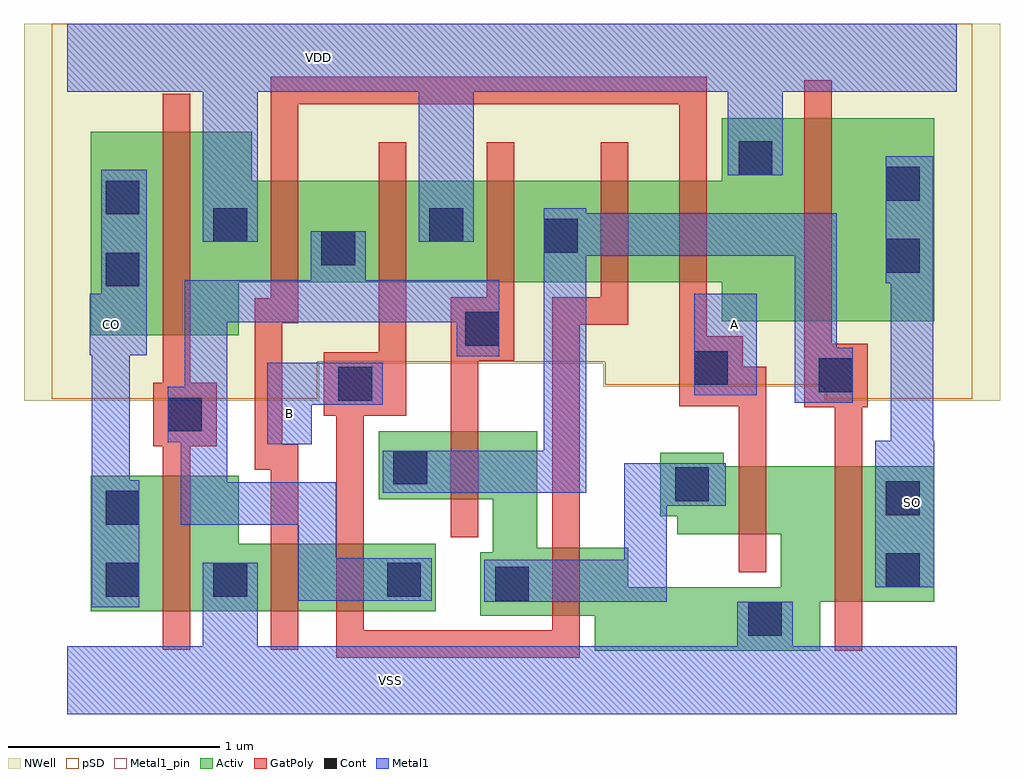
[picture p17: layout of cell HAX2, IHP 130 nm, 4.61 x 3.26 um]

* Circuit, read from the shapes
.subckt HAX2 A B CO SO VDD VSS
XM1 VSS n1 CO VSUBS sg13_lv_nmos w=0.64u l=0.13u
XM2 n2 A VSS VSUBS sg13_lv_nmos w=0.32u l=0.13u
XM3 n1 B n2 VSUBS sg13_lv_nmos w=0.32u l=0.13u
XM4 n3 n1 n4 VSUBS sg13_lv_nmos w=0.32u l=0.13u
XM5 VSS B n3 VSUBS sg13_lv_nmos w=0.32u l=0.13u
XM6 VSS A n3 VSUBS sg13_lv_nmos w=0.32u l=0.13u
XM7 SO n4 VSS VSUBS sg13_lv_nmos w=0.64u l=0.13u
XM8 VDD n1 CO n5 sg13_lv_pmos w=0.96u l=0.13u
XM9 n1 A VDD n5 sg13_lv_pmos w=0.48u l=0.13u
XM10 VDD B n1 n5 sg13_lv_pmos w=0.48u l=0.13u
XM11 n4 n1 VDD n5 sg13_lv_pmos w=0.48u l=0.13u
XM12 n6 B n4 n5 sg13_lv_pmos w=0.48u l=0.13u
XM13 VDD A n6 n5 sg13_lv_pmos w=0.48u l=0.13u
XM14 SO n4 VDD n5 sg13_lv_pmos w=0.96u l=0.13u
.ends

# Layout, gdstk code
import gdstk
lib = gdstk.Library(unit=1e-6, precision=1e-09)
def R(c, l, rs):  # rectangles x0, y0, x1, y1
    for r in rs: c.add(gdstk.rectangle(r[:2], r[2:], *l))
def P(c, l, *ps):  # polygons
    for p in ps: c.add(gdstk.Polygon(p, *l))
Activ = (1, 0)
GatPoly = (5, 0)
Cont = (6, 0)
Metal1 = (8, 0)
Metal1_pin = (8, 2)
pSD = (14, 0)
NWell = (31, 0)

hax2 = lib.new_cell('HAX2')
P(hax2, Activ, [(2.49,0.14),(2.49,0.305),(1.95,0.305),(1.95,0.605),(2.01,0.605),(2.01,0.855),(1.47,0.855),(1.47,1.175),(2.22,1.175),(2.22,0.625),(2.65,0.625),(2.65,0.44),(3.37,0.44),(3.37,0.69),(2.88,0.69),(2.88,0.775),(2.8,0.775),(2.8,1.075),(3.1,1.075),(3.1,1.01),(4.095,1.01),(4.095,0.37),(3.555,0.37),(3.555,0.14)],
  [(0.11,1.63),(0.11,2.59),(0.87,2.59),(0.87,2.36),(3.09,2.36),(3.09,2.655),(4.095,2.655),(4.095,1.695),(3.09,1.695),(3.09,1.88),(0.81,1.88),(0.81,1.63)],
  [(0.11,0.325),(0.11,0.965),(0.81,0.965),(0.81,0.645),(1.74,0.645),(1.74,0.325)])
P(hax2, GatPoly, [(1.27,0.105),(1.27,1.25),(1.21,1.25),(1.21,1.55),(1.47,1.55),(1.47,2.54),(1.6,2.54),(1.6,1.25),(1.4,1.25),(1.4,0.235),(2.29,0.235),(2.29,1.81),(2.52,1.81),(2.52,2.54),(2.65,2.54),(2.65,1.68),(2.42,1.68),(2.42,0.105)],
  [(0.96,0.145),(0.96,0.995),(0.885,0.995),(0.885,1.805),(0.96,1.805),(0.96,2.85),(3.02,2.85),(3.02,1.625),(3.19,1.625),(3.19,1.48),(3.3,1.48),(3.3,0.51),(3.17,0.51),(3.17,1.295),(2.89,1.295),(2.89,2.72),(1.09,2.72),(1.09,1.685),(1.015,1.685),(1.015,1.115),(1.09,1.115),(1.09,0.145)],
  [(3.625,0.14),(3.625,1.29),(3.48,1.29),(3.48,2.835),(3.61,2.835),(3.61,1.59),(3.78,1.59),(3.78,1.29),(3.755,1.29),(3.755,0.14)],
  [(1.81,0.675),(1.81,1.81),(1.98,1.81),(1.98,2.54),(2.11,2.54),(2.11,1.51),(1.94,1.51),(1.94,0.675)],
  [(0.45,0.145),(0.45,1.105),(0.405,1.105),(0.405,1.405),(0.45,1.405),(0.45,2.77),(0.58,2.77),(0.58,1.405),(0.705,1.405),(0.705,1.105),(0.58,1.105),(0.58,0.145)])
R(hax2, Cont, [(3.215,0.21,3.375,0.37), (2.02,0.375,2.18,0.535), (0.18,0.395,0.34,0.555), (0.69,0.395,0.85,0.555), (1.51,0.395,1.67,0.555), (3.865,0.44,4.025,0.6), (0.18,0.735,0.34,0.895), (3.865,0.78,4.025,0.94), (2.87,0.845,3.03,1.005), (1.54,0.925,1.7,1.085), (0.475,1.175,0.635,1.335), (1.28,1.32,1.44,1.48), (3.55,1.36,3.71,1.52), (2.96,1.395,3.12,1.555), (1.88,1.58,2.04,1.74), (0.18,1.86,0.34,2.02), (3.865,1.925,4.025,2.085), (1.2,1.96,1.36,2.12), (2.25,2.02,2.41,2.18), (0.69,2.07,0.85,2.23), (1.71,2.07,1.87,2.23), (0.18,2.2,0.34,2.36), (3.865,2.265,4.025,2.425), (3.17,2.385,3.33,2.545)])
R(hax2, Metal1, [(2.96,1.345,3.255,1.825)])
P(hax2, Metal1, [(0,-0.16),(0,0.16),(0.64,0.16),(0.64,0.555),(0.9,0.555),(0.9,0.16),(3.165,0.16),(3.165,0.37),(3.425,0.37),(3.425,0.16),(4.2,0.16),(4.2,-0.16)],
  [(0.64,2.07),(0.64,2.78),(0,2.78),(0,3.1),(4.2,3.1),(4.2,2.78),(3.38,2.78),(3.38,2.385),(3.12,2.385),(3.12,2.78),(1.92,2.78),(1.92,2.07),(1.66,2.07),(1.66,2.78),(0.9,2.78),(0.9,2.07)],
  [(0.115,0.345),(0.115,1.535),(0.105,1.535),(0.105,1.825),(0.16,1.825),(0.16,2.41),(0.375,2.41),(0.375,1.535),(0.295,1.535),(0.295,0.945),(0.34,0.945),(0.34,0.345)],
  [(3.815,0.44),(3.815,1.13),(3.89,1.13),(3.89,1.875),(3.865,1.875),(3.865,2.475),(4.09,2.475),(4.09,1.13),(4.095,1.13),(4.095,0.44)],
  [(1.49,0.885),(1.49,1.085),(2.25,1.085),(2.25,2.23),(2.45,2.23),(2.45,2.205),(3.635,2.205),(3.635,1.57),(3.71,1.57),(3.71,1.31),(3.435,1.31),(3.435,2.005),(2.45,2.005),(2.45,0.885)],
  [(0.945,1.115),(0.945,1.5),(1.49,1.5),(1.49,1.3),(1.155,1.3),(1.155,1.115)],
  [(1.97,0.37),(1.97,0.57),(2.63,0.57),(2.63,1.025),(3.11,1.025),(3.11,0.825),(2.83,0.825),(2.83,0.37)],
  [(1.09,0.375),(1.09,0.735),(0.535,0.735),(0.535,1.125),(0.475,1.125),(0.475,1.385),(0.555,1.385),(0.555,1.89),(1.15,1.89),(1.15,2.12),(1.41,2.12),(1.41,1.89),(2.04,1.89),(2.04,1.53),(1.84,1.53),(1.84,1.69),(0.755,1.69),(0.755,0.935),(1.27,0.935),(1.27,0.575),(1.72,0.575),(1.72,0.375)])
R(hax2, Metal1_pin, [(2.96,1.345,3.255,1.825)])
P(hax2, Metal1_pin, [(0,-0.16),(0,0.16),(0.64,0.16),(0.64,0.555),(0.9,0.555),(0.9,0.16),(3.165,0.16),(3.165,0.37),(3.425,0.37),(3.425,0.16),(4.2,0.16),(4.2,-0.16)],
  [(0.945,1.115),(0.945,1.5),(1.49,1.5),(1.49,1.3),(1.155,1.3),(1.155,1.115)],
  [(3.815,0.44),(3.815,1.13),(3.89,1.13),(3.89,1.875),(3.865,1.875),(3.865,2.475),(4.09,2.475),(4.09,1.13),(4.095,1.13),(4.095,0.44)],
  [(0.64,2.07),(0.64,2.78),(0,2.78),(0,3.1),(4.2,3.1),(4.2,2.78),(3.38,2.78),(3.38,2.385),(3.12,2.385),(3.12,2.78),(1.92,2.78),(1.92,2.07),(1.66,2.07),(1.66,2.78),(0.9,2.78),(0.9,2.07)],
  [(0.115,0.345),(0.115,1.535),(0.105,1.535),(0.105,1.825),(0.16,1.825),(0.16,2.41),(0.375,2.41),(0.375,1.535),(0.295,1.535),(0.295,0.945),(0.34,0.945),(0.34,0.345)])
P(hax2, pSD, [(-0.075,1.33),(-0.075,3.1),(4.275,3.1),(4.275,1.33),(3.585,1.33),(3.585,1.395),(2.54,1.395),(2.54,1.505),(1.18,1.505),(1.18,1.33)])
P(hax2, NWell, [(-0.205,1.32),(-0.205,3.1),(4.405,3.1),(4.405,1.32),(3.575,1.32),(3.575,1.385),(2.53,1.385),(2.53,1.495),(1.19,1.495),(1.19,1.32)])
hax2.add(gdstk.Label('B', (1.05,1.26), layer=8, texttype=25))
hax2.add(gdstk.Label('A', (3.15,1.68), layer=8, texttype=25))
hax2.add(gdstk.Label('SO', (3.99,0.84), layer=8, texttype=25))
hax2.add(gdstk.Label('VDD', (1.185,2.94), layer=8, texttype=25))
hax2.add(gdstk.Label('VSS', (1.525,0), layer=8, texttype=25))
hax2.add(gdstk.Label('CO', (0.21,1.68), layer=8, texttype=25))

lib.write_gds('HAX2.gds')
